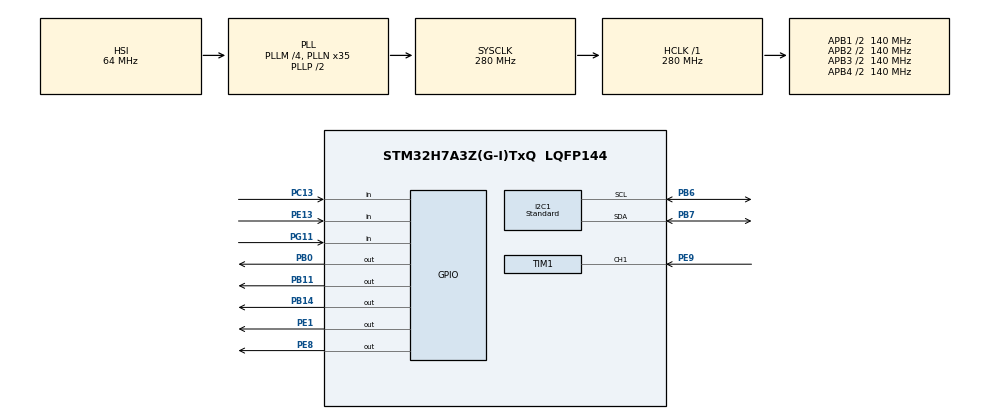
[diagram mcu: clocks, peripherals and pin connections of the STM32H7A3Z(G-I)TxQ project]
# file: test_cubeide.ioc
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CORTEX_M7.default_mode_Activation=1
I2C1.Analog_Filter=I2C_ANALOGFILTER_ENABLE
I2C1.I2C_Speed_Mode=I2C_Standard
I2C1.NoStretchMode=I2C_NOSTRETCH_ENABLE
I2C1.Speed=100
I2C1.Timing=0x20B0CCFF
Mcu.Family=STM32H7
Mcu.Name=STM32H7A3Z(G-I)TxQ
Mcu.Package=LQFP144
NUCLEO-H7A3ZI-Q.BUTTON=1
NUCLEO-H7A3ZI-Q.Bsp_Common_DEMO=true
NUCLEO-H7A3ZI-Q.LD1=true
NUCLEO-H7A3ZI-Q.LD2=true
NUCLEO-H7A3ZI-Q.LD3=true
NUCLEO-H7A3ZI-Q.VCP=true
NVIC.EXTI15_10_IRQn=true\:0\:0\:false\:false\:true\:false\:true\:true
NVIC.I2C1_ER_IRQn=true\:4\:0\:true\:false\:true\:true\:true\:true
NVIC.I2C1_EV_IRQn=true\:4\:0\:true\:false\:true\:true\:true\:true
NVIC.PriorityGroup=NVIC_PRIORITYGROUP_4
NVIC.TIM1_CC_IRQn=true\:2\:0\:true\:false\:true\:true\:true\:true
NVIC.TIM1_UP_IRQn=true\:2\:0\:true\:false\:true\:true\:true\:true
NVIC.TIM2_IRQn=true\:0\:0\:false\:false\:true\:true\:true\:true
NVIC.TIM7_IRQn=true\:7\:0\:true\:false\:true\:true\:true\:true
PB0.Signal=GPIO_Output
PB11.Signal=GPIO_Output
PB14.Signal=GPIO_Output
PB6.GPIO_Speed=GPIO_SPEED_FREQ_MEDIUM
PB6.Mode=I2C
PB6.Signal=I2C1_SCL
PB7.GPIO_Speed=GPIO_SPEED_FREQ_MEDIUM
PB7.Mode=I2C
PB7.Signal=I2C1_SDA
PC13.Signal=GPIO_Input
PC14-OSC32_IN.GPIO_Label=OSC32_IN
PC14-OSC32_IN.Signal=RCC_OSC32_IN
PC15-OSC32_OUT.GPIO_Label=OSC32_OUT
PC15-OSC32_OUT.Signal=RCC_OSC32_OUT
PD8.Signal=USART3_TX
PD9.Signal=USART3_RX
PE1.Signal=GPIO_Output
PE13.Signal=GPIO_Input
PE8.Signal=GPIO_Output
PE9.Signal=S_TIM1_CH1
PG11.Signal=GPIO_Input
PH0-OSC_IN.GPIO_Label=PH0-MCU
PH0-OSC_IN.Signal=RCC_OSC_IN
PH1-OSC_OUT.GPIO_Label=PH1-MCU
PH1-OSC_OUT.Signal=RCC_OSC_OUT
ProjectManager.HeapSize=0x200
ProjectManager.StackSize=0x400
ProjectManager.TargetToolchain=STM32CubeIDE
RCC.ADCFreq_Value=129000000
RCC.APB1Freq_Value=140000000
RCC.APB2Freq_Value=140000000
RCC.APB3Freq_Value=140000000
RCC.APB4Freq_Value=140000000
RCC.CDPPRE=RCC_APB3_DIV2
RCC.CDPPRE1=RCC_APB1_DIV2
RCC.CDPPRE2=RCC_APB2_DIV2
RCC.CortexFreq_Value=280000000
RCC.DIVM1=4
RCC.DIVM3=1
RCC.DIVN1=35
RCC.DIVN3=24
RCC.DIVQ1=4
RCC.HCLKFreq_Value=280000000
RCC.HSE_VALUE=8000000
RCC.PLLFRACN=0
RCC.PWR_Regulator_Voltage_Scale=PWR_REGULATOR_VOLTAGE_SCALE0
RCC.SRDPPRE=RCC_APB4_DIV2
RCC.SYSCLKFreq_VALUE=280000000
RCC.SYSCLKSource=RCC_SYSCLKSOURCE_PLLCLK
RCC.SupplySource=PWR_DIRECT_SMPS_SUPPLY
RCC.USBCLockSelection=RCC_USBCLKSOURCE_HSI48
RCC.USBFreq_Value=48000000
SH.S_TIM1_CH1.0=TIM1_CH1,Input_Capture1_from_TI1
TIM1.AutoReloadPreload=TIM_AUTORELOAD_PRELOAD_DISABLE
TIM1.Channel-Input_Capture1_from_TI1=TIM_CHANNEL_1
TIM1.Period=0xFFFF
TIM1.Prescaler=280-1
TIM2.Prescaler=280-1
TIM6.Prescaler=280-1
TIM7.AutoReloadPreload=TIM_AUTORELOAD_PRELOAD_DISABLE
TIM7.Period=10000-1
TIM7.Prescaler=280-1
VP_MEMORYMAP_VS_MEMORYMAP.Mode=CurAppReg
VP_NUCLEO-H7A3ZI-Q_VS_BSP_COMMON.Mode=COMMON
VP_TIM1_VS_ClockSourceINT.Mode=Internal
VP_TIM2_VS_ClockSourceINT.Mode=Internal
VP_TIM6_VS_ClockSourceINT.Mode=Enable_Timer
VP_TIM7_VS_ClockSourceINT.Mode=Enable_Timer
board=NUCLEO-H7A3ZI-Q

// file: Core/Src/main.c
/* USER CODE BEGIN Header */
/**
  ******************************************************************************
  * @file           : main.c
  * @brief          : Main program body
  ******************************************************************************
  * @attention
  *
  * Copyright (c) 2026 STMicroelectronics.
  * All rights reserved.
  *
  * This software is licensed under terms that can be found in the LICENSE file
  * in the root directory of this software component.
  * If no LICENSE file comes with this software, it is provided AS-IS.
  *
  ******************************************************************************
  */
/* USER CODE END Header */
#include "main.h"
#include "i2c.h"
#include "tim.h"
#include "gpio.h"

/* USER CODE BEGIN Includes */

#include "flash_veeprom_test.h"
#include "tim1_drv.h"
#include "test_unit.h"

/* USER CODE END Includes */

COM_InitTypeDef BspCOMInit;
__IO uint32_t BspButtonState = BUTTON_RELEASED;

void SystemClock_Config(void);
static void MPU_Config(void);

int main(void)
{

  /* MPU Configuration--------------------------------------------------------*/
  MPU_Config();

  /* MCU Configuration--------------------------------------------------------*/

  /* Reset of all peripherals, Initializes the Flash interface and the Systick. */
  HAL_Init();

  /* Configure the system clock */
  SystemClock_Config();

  /* Initialize all configured peripherals */
  MX_GPIO_Init();
  MX_TIM1_Init();
  MX_TIM2_Init();
  MX_I2C1_Init();
  MX_TIM7_Init();
  MX_TIM6_Init();

  /* Initialize leds */
  BSP_LED_Init(LED_GREEN);
  BSP_LED_Init(LED_YELLOW);
  BSP_LED_Init(LED_RED);

  /* Initialize USER push-button, will be used to trigger an interrupt each time it's pressed.*/
  BSP_PB_Init(BUTTON_USER, BUTTON_MODE_EXTI);

  /* Initialize COM1 port (115200, 8 bits (7-bit data + 1 stop bit), no parity */
  BspCOMInit.BaudRate   = 115200;
  BspCOMInit.WordLength = COM_WORDLENGTH_8B;
  BspCOMInit.StopBits   = COM_STOPBITS_1;
  BspCOMInit.Parity     = COM_PARITY_NONE;
  BspCOMInit.HwFlowCtl  = COM_HWCONTROL_NONE;
  if (BSP_COM_Init(COM1, &BspCOMInit) != BSP_ERROR_NONE)
  {
    Error_Handler();
  }

  /* USER CODE BEGIN BSP */
  BspCOMInit.BaudRate   = 3000000;

  if (BSP_COM_Init(COM1, &BspCOMInit) != BSP_ERROR_NONE)
    {
      Error_Handler();
    }

  /* -- Sample board code to send message over COM1 port ---- */
  //printf("Welcome to STM32 world !\n\r");

  /* -- Sample board code to switch on leds ---- */
  BSP_LED_On(LED_GREEN);
  BSP_LED_On(LED_YELLOW);
  BSP_LED_On(LED_RED);

  /* USER CODE END BSP */

  /* Infinite loop */
  /* USER CODE BEGIN WHILE */
  HAL_TIM_Base_Start(&htim2);

  HAL_TIM_IC_Start_IT(&htim1, TIM_CHANNEL_1);
  HAL_TIM_Base_Start_IT(&htim1);
#if 0
  printf("CR1  = %08lX\r\n", TIM1->CR1);
  printf("DIER = %08lX\r\n", TIM1->DIER);
  printf("SR   = %08lX\r\n", TIM1->SR);
  printf("CCER = %08lX\r\n", TIM1->CCER);
#endif
  //flash_veeprom_test();

  test_unit();

  while (1)
  {
#if 0
	  uint64_t val;

	  if (tim1_drv_get_value(&val) == 1)
	  {
		  printf("%llu\n", val);
	  }
#endif

	  HAL_GPIO_WritePin(GPIOB, GPIO_PIN_11, GPIO_PIN_RESET);

	  DBG dbg;

	  if ( dbg_pop(&dbg) )
	  {
		  HAL_GPIO_WritePin(GPIOB, GPIO_PIN_11, GPIO_PIN_SET);

		  printf("%5u ", dbg.id);
		  printf("%2u ", dbg.type);
		  printf("%12lu ", dbg.time2);
		  printf("%6u ", dbg.time1);
		  printf("%6u ", dbg.ovf);
		  printf("%12llu ", dbg.time1_ovf);
		  printf("%12llu ", dbg.period);
		  printf("%6lu ", dbg.backlog);
		  printf("%6lu ", dbg_count());
		  printf("%6lu\n ", dbg_get_overflow());

		  HAL_GPIO_WritePin(GPIOB, GPIO_PIN_11, GPIO_PIN_RESET);
	  }

    /* -- Sample board code for User push-button in interrupt mode ---- */
    if (BspButtonState == BUTTON_PRESSED)
    {
      /* Update button state */
      BspButtonState = BUTTON_RELEASED;
      /* -- Sample board code to toggle leds ---- */
      BSP_LED_Toggle(LED_GREEN);
      BSP_LED_Toggle(LED_YELLOW);
      BSP_LED_Toggle(LED_RED);

      /* ..... Perform your action ..... */
    }
    /* USER CODE END WHILE */

  }
}

void SystemClock_Config(void)
{
  RCC_OscInitTypeDef RCC_OscInitStruct = {0};
  RCC_ClkInitTypeDef RCC_ClkInitStruct = {0};

  /*AXI clock gating */
  RCC->CKGAENR = 0xE003FFFF;

  /** Supply configuration update enable
  */
  HAL_PWREx_ConfigSupply(PWR_DIRECT_SMPS_SUPPLY);

  /** Configure the main internal regulator output voltage
  */
  __HAL_PWR_VOLTAGESCALING_CONFIG(PWR_REGULATOR_VOLTAGE_SCALE0);

  while(!__HAL_PWR_GET_FLAG(PWR_FLAG_VOSRDY)) {}

  /** Initializes the RCC Oscillators according to the specified parameters
  * in the RCC_OscInitTypeDef structure.
  */
  RCC_OscInitStruct.OscillatorType = RCC_OSCILLATORTYPE_HSI;
  RCC_OscInitStruct.HSIState = RCC_HSI_DIV1;
  RCC_OscInitStruct.HSICalibrationValue = 64;
  RCC_OscInitStruct.PLL.PLLState = RCC_PLL_ON;
  RCC_OscInitStruct.PLL.PLLSource = RCC_PLLSOURCE_HSI;
  RCC_OscInitStruct.PLL.PLLM = 4;
  RCC_OscInitStruct.PLL.PLLN = 35;
  RCC_OscInitStruct.PLL.PLLP = 2;
  RCC_OscInitStruct.PLL.PLLQ = 4;
  RCC_OscInitStruct.PLL.PLLR = 2;
  RCC_OscInitStruct.PLL.PLLRGE = RCC_PLL1VCIRANGE_3;
  RCC_OscInitStruct.PLL.PLLVCOSEL = RCC_PLL1VCOWIDE;
  RCC_OscInitStruct.PLL.PLLFRACN = 0;
  if (HAL_RCC_OscConfig(&RCC_OscInitStruct) != HAL_OK)
  {
    Error_Handler();
  }

  /** Initializes the CPU, AHB and APB buses clocks
  */
  RCC_ClkInitStruct.ClockType = RCC_CLOCKTYPE_HCLK|RCC_CLOCKTYPE_SYSCLK
                              |RCC_CLOCKTYPE_PCLK1|RCC_CLOCKTYPE_PCLK2
                              |RCC_CLOCKTYPE_D3PCLK1|RCC_CLOCKTYPE_D1PCLK1;
  RCC_ClkInitStruct.SYSCLKSource = RCC_SYSCLKSOURCE_PLLCLK;
  RCC_ClkInitStruct.SYSCLKDivider = RCC_SYSCLK_DIV1;
  RCC_ClkInitStruct.AHBCLKDivider = RCC_HCLK_DIV1;
  RCC_ClkInitStruct.APB3CLKDivider = RCC_APB3_DIV2;
  RCC_ClkInitStruct.APB1CLKDivider = RCC_APB1_DIV2;
  RCC_ClkInitStruct.APB2CLKDivider = RCC_APB2_DIV2;
  RCC_ClkInitStruct.APB4CLKDivider = RCC_APB4_DIV2;

  if (HAL_RCC_ClockConfig(&RCC_ClkInitStruct, FLASH_LATENCY_6) != HAL_OK)
  {
    Error_Handler();
  }
}

 /* MPU Configuration */

void MPU_Config(void)
{
  MPU_Region_InitTypeDef MPU_InitStruct = {0};

  /* Disables the MPU */
  HAL_MPU_Disable();

  /** Initializes and configures the Region and the memory to be protected
  */
  MPU_InitStruct.Enable = MPU_REGION_ENABLE;
  MPU_InitStruct.Number = MPU_REGION_NUMBER0;
  MPU_InitStruct.BaseAddress = 0x0;
  MPU_InitStruct.Size = MPU_REGION_SIZE_4GB;
  MPU_InitStruct.SubRegionDisable = 0x87;
  MPU_InitStruct.TypeExtField = MPU_TEX_LEVEL0;
  MPU_InitStruct.AccessPermission = MPU_REGION_NO_ACCESS;
  MPU_InitStruct.DisableExec = MPU_INSTRUCTION_ACCESS_DISABLE;
  MPU_InitStruct.IsShareable = MPU_ACCESS_SHAREABLE;
  MPU_InitStruct.IsCacheable = MPU_ACCESS_NOT_CACHEABLE;
  MPU_InitStruct.IsBufferable = MPU_ACCESS_NOT_BUFFERABLE;

  HAL_MPU_ConfigRegion(&MPU_InitStruct);
  /* Enables the MPU */
  HAL_MPU_Enable(MPU_PRIVILEGED_DEFAULT);

}

/**
  * @brief BSP Push Button callback
  * @param Button Specifies the pressed button
  * @retval None
  */
void BSP_PB_Callback(Button_TypeDef Button)
{
  if (Button == BUTTON_USER)
  {
    BspButtonState = BUTTON_PRESSED;
  }
}

void Error_Handler(void)
{
  __disable_irq();
  while (1)
  {
  }
}
